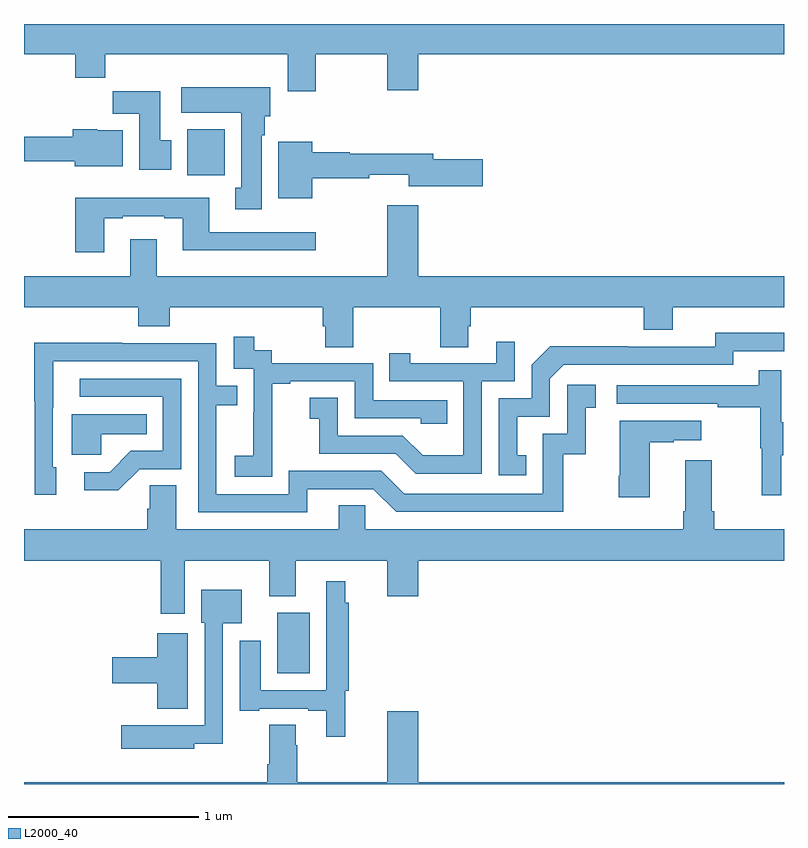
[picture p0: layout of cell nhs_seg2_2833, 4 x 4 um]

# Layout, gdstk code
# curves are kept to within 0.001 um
import gdstk
lib = gdstk.Library(unit=1e-6, precision=1e-09)
def R(c, l, rs):  # rectangles x0, y0, x1, y1
    for r in rs: c.add(gdstk.rectangle(r[:2], r[2:], *l))
def P(c, l, *ps):  # polygons
    for p in ps: c.add(gdstk.Polygon(p, *l))
L2000_40 = (2000, 40)

nhs_seg2_2833 = lib.new_cell('nhs_seg2_2833')
R(nhs_seg2_2833, L2000_40, [(260.333,640.382,260.503,640.702), (259.859,643.004,260.056,643.246)])
P(nhs_seg2_2833, L2000_40, [(260.535,643.64),(260.912,643.64),(260.912,643.452),(261.076,643.452),(261.076,643.64),(263,643.64),(263,643.8),(259,643.8),(259,643.64),(259.271,643.64),(259.271,643.516),(259.427,643.516),(259.427,643.64),(260.387,643.64),(260.387,643.446),(260.535,643.446)],
  [(260.251,643.214),(260.266,643.214),(260.266,643.314),(260.296,643.314),(260.296,643.468),(259.827,643.468),(259.827,643.334),(260.144,643.334),(260.144,642.938),(260.111,642.938),(260.111,642.825),(260.251,642.825)],
  [(259.774,643.188),(259.717,643.188),(259.717,643.447),(259.468,643.447),(259.468,643.328),(259.607,643.328),(259.607,643.032),(259.774,643.032)],
  [(259.519,643.24),(259.386,643.24),(259.386,643.246),(259.256,643.246),(259.256,643.207),(259,643.207),(259,643.078),(259.268,643.078),(259.268,643.052),(259.519,643.052)],
  [(260.518,642.988),(260.816,642.988),(260.816,643.007),(261.026,643.007),(261.026,642.946),(261.415,642.946),(261.415,643.088),(261.154,643.088),(261.154,643.117),(260.714,643.117),(260.714,643.124),(260.518,643.124),(260.518,643.18),(260.339,643.18),(260.339,642.884),(260.518,642.884)],
  [(259.423,642.777),(259.519,642.777),(259.519,642.789),(259.739,642.789),(259.739,642.777),(259.835,642.777),(259.835,642.608),(260.536,642.608),(260.536,642.705),(259.975,642.705),(259.975,642.886),(259.271,642.886),(259.271,642.6),(259.423,642.6)],
  [(260.733,642.308),(261.19,642.308),(261.19,642.1),(261.337,642.1),(261.337,642.21),(261.35,642.21),(261.35,642.308),(262.262,642.308),(262.262,642.191),(262.414,642.191),(262.414,642.308),(263,642.308),(263,642.472),(261.076,642.472),(261.076,642.847),(260.912,642.847),(260.912,642.472),(259.699,642.472),(259.699,642.667),(259.559,642.667),(259.559,642.472),(259,642.472),(259,642.308),(259.601,642.308),(259.601,642.209),(259.766,642.209),(259.766,642.308),(260.573,642.308),(260.573,642.21),(260.585,642.21),(260.585,642.1),(260.733,642.1)],
  [(261.644,641.529),(261.595,641.529),(261.595,641.733),(261.768,641.733),(261.768,641.934),(261.84,642.006),(262.734,642.006),(262.734,642.078),(263,642.078),(263,642.175),(262.638,642.175),(262.638,642.102),(262.178,642.102),(262.178,642.104),(261.77,642.104),(261.672,642.006),(261.672,641.829),(261.498,641.829),(261.498,641.424),(261.644,641.424)],
  [(260.307,641.623),(260.306,641.623),(260.306,641.907),(260.401,641.907),(260.401,641.919),(260.742,641.919),(260.742,641.724),(261.087,641.724),(261.087,641.697),(261.227,641.697),(261.227,641.82),(260.838,641.82),(260.838,642.015),(260.304,642.015),(260.304,642.084),(260.212,642.084),(260.212,642.154),(260.103,642.154),(260.103,641.985),(260.208,641.985),(260.208,641.756),(260.207,641.756),(260.207,641.527),(260.109,641.527),(260.109,641.417),(260.307,641.417)],
  [(261.408,641.919),(261.582,641.919),(261.582,642.127),(261.485,642.127),(261.485,642.015),(261.034,642.015),(261.034,642.067),(260.923,642.067),(260.923,641.919),(261.312,641.919),(261.312,641.53),(261.098,641.53),(260.994,641.634),(260.652,641.634),(260.652,641.833),(260.505,641.833),(260.505,641.723),(260.554,641.723),(260.554,641.538),(260.957,641.538),(261.062,641.433),(261.408,641.433)],
  [(260.491,641.352),(260.838,641.352),(260.958,641.232),(261.838,641.232),(261.838,641.535),(261.956,641.535),(261.956,641.781),(262.009,641.781),(262.009,641.902),(261.858,641.902),(261.858,641.643),(261.729,641.643),(261.729,641.328),(261,641.328),(260.88,641.448),(260.394,641.448),(260.394,641.325),(260.013,641.325),(260.013,641.794),(260.123,641.794),(260.123,641.895),(260.013,641.895),(260.013,642.12),(259.517,642.12),(259.517,642.122),(259.054,642.122),(259.054,641.815),(259.056,641.815),(259.056,641.322),(259.171,641.322),(259.171,641.466),(259.152,641.466),(259.153,642.024),(259.917,642.024),(259.917,641.229),(260.491,641.229)],
  [(262.985,641.531),(262.996,641.531),(262.996,641.705),(262.985,641.705),(262.985,641.977),(262.867,641.977),(262.867,641.898),(262.119,641.898),(262.119,641.802),(262.651,641.802),(262.651,641.782),(262.875,641.782),(262.875,641.568),(262.882,641.568),(262.882,641.319),(262.985,641.319)],
  [(259.608,641.457),(259.827,641.457),(259.827,641.934),(259.293,641.934),(259.293,641.838),(259.731,641.838),(259.731,641.553),(259.562,641.553),(259.451,641.442),(259.317,641.442),(259.317,641.345),(259.495,641.345)],
  [(259.407,641.642),(259.646,641.642),(259.646,641.746),(259.25,641.746),(259.25,641.534),(259.407,641.534)],
  [(262.294,641.599),(262.421,641.599),(262.421,641.609),(262.564,641.609),(262.564,641.713),(262.136,641.713),(262.136,641.422),(262.129,641.422),(262.129,641.31),(262.294,641.31)],
  [(259.846,640.976),(260.291,640.976),(260.291,640.787),(260.431,640.787),(260.431,640.976),(260.912,640.976),(260.912,640.788),(261.076,640.788),(261.076,640.976),(263,640.976),(263,641.14),(262.634,641.14),(262.634,641.236),(262.621,641.236),(262.621,641.503),(262.481,641.503),(262.481,641.236),(262.469,641.236),(262.469,641.14),(260.796,641.14),(260.796,641.267),(260.657,641.267),(260.657,641.14),(259.801,641.14),(259.801,641.372),(259.662,641.372),(259.662,641.249),(259.649,641.249),(259.649,641.14),(259,641.14),(259,640.976),(259.721,640.976),(259.721,640.695),(259.846,640.695)],
  [(260.691,640.29),(260.708,640.29),(260.708,640.754),(260.691,640.754),(260.691,640.867),(260.592,640.867),(260.592,640.293),(260.245,640.293),(260.245,640.555),(260.135,640.555),(260.135,640.185),(260.239,640.185),(260.239,640.197),(260.495,640.197),(260.495,640.185),(260.591,640.185),(260.591,640.05),(260.691,640.05)],
  [(259.896,640.013),(260.046,640.013),(260.046,640.646),(260.146,640.646),(260.146,640.822),(259.934,640.822),(259.934,640.65),(259.95,640.65),(259.95,640.11),(259.734,640.11),(259.734,640.108),(259.512,640.108),(259.512,639.986),(259.896,639.986)],
  [(259.861,640.594),(259.7,640.594),(259.7,640.466),(259.464,640.466),(259.464,640.331),(259.7,640.331),(259.7,640.195),(259.861,640.195)],
  [(263,639.808),(261.076,639.808),(261.076,640.183),(260.912,640.183),(260.912,639.808),(260.439,639.808),(260.439,640.004),(260.431,640.004),(260.431,640.112),(260.291,640.112),(260.291,639.904),(260.279,639.904),(260.279,639.808),(259,639.808),(259,639.8),(263,639.8)])

lib.write_gds('nhs_seg2_2833.gds')
